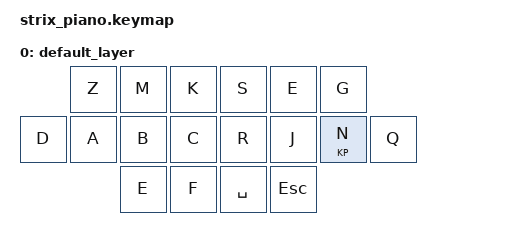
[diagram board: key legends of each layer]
#include <behaviors.dtsi>
#include <dt-bindings/zmk/keys.h>

/ {
    keymap {
        compatible = "zmk,keymap";

        default_layer { // Layer 0
            bindings = <
                     &kp Z    &kp M    &kp K    &kp S   &kp E    &kp G
            &kp D    &kp A    &kp B    &kp C    &kp R   &kp J    &KP N    &kp Q
                              &kp E    &kp F    &kp SPC &kp ESC
            >;
        };
    };
 };
